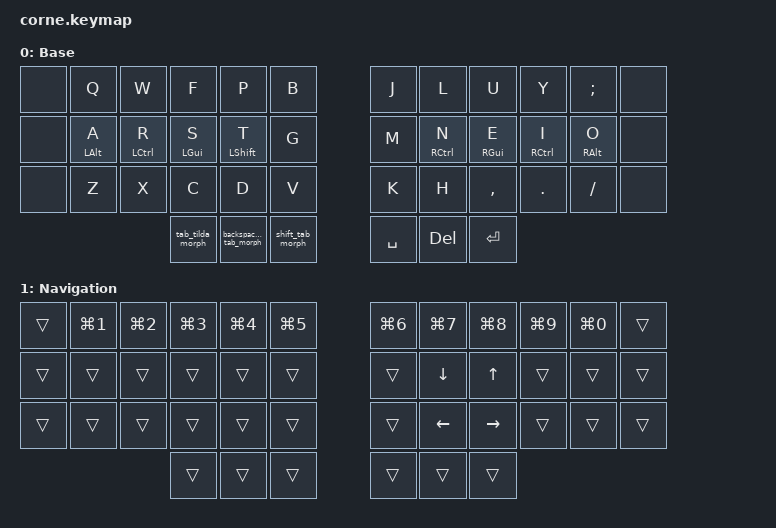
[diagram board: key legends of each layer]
/*
 * Copyright (c) 2020 The ZMK Contributors
 *
 * SPDX-License-Identifier: MIT
 */

#include <behaviors.dtsi>
#include <dt-bindings/zmk/keys.h>

/ {
    macros {
        new_macro: new_macro {
            compatible = "zmk,behavior-macro";
            #binding-cells = <0>;
            bindings = <&none>;
            label = "NEW_MACRO";
        };
    };

    behaviors {
        hrm: hrm {
            compatible = "zmk,behavior-hold-tap";
            label = "HRM";
            bindings = <&kp>, <&kp>;

            #binding-cells = <2>;
            tapping-term-ms = <1000>;
            quick-tap-ms = <175>;
            require-prior-idle-ms = <200>;
            flavor = "balanced";
        };

        shift_tab_morph: shift_tab_morph {
            compatible = "zmk,behavior-mod-morph";
            label = "SHIFT_TAB_MORPH";
            bindings = <&kp LEFT_SHIFT>, <&kp TAB>;

            #binding-cells = <0>;
            mods = <(MOD_LGUI|MOD_RGUI)>;
            keep-mods = <(MOD_LGUI|MOD_RGUI)>;
        };

        backspace_shift_tab_morph: backspace_shift_tab_morph {
            compatible = "zmk,behavior-mod-morph";
            label = "BACKSPACE_SHIFT_TAB_MORPH";
            bindings = <&lt 1 BACKSPACE>, <&kp LS(TAB)>;

            #binding-cells = <0>;
            mods = <(MOD_LGUI|MOD_RGUI)>;
            keep-mods = <(MOD_LGUI|MOD_RGUI)>;
        };

        tab_tilda_morph: tab_tilda_morph {
            compatible = "zmk,behavior-mod-morph";
            label = "TAB_TILDA_MORPH";
            bindings = <&kp TAB>, <&kp GRAVE>;

            #binding-cells = <0>;
            mods = <(MOD_LGUI|MOD_RGUI)>;
            keep-mods = <(MOD_LGUI|MOD_RGUI)>;
        };
    };

    combos {
        compatible = "zmk,combos";

        Copy {
            bindings = <&kp LG(C)>;
            key-positions = <27 26>;
        };

        Paste {
            bindings = <&kp LG(V)>;
            key-positions = <27 28>;
        };

        Escape {
            bindings = <&kp ESCAPE>;
            key-positions = <2 3>;
        };
    };

    keymap {
        compatible = "zmk,keymap";

        Base {
            // -----------------------------------------------------------------------------------------
            // |  TAB |  Q  |  W  |  E  |  R  |  T  |   |  Y  |  U   |  I  |  O  |  P  | BKSP |
            // | CTRL |  A  |  S  |  D  |  F  |  G  |   |  H  |  J   |  K  |  L  |  ;  |  '   |
            // | SHFT |  Z  |  X  |  C  |  V  |  B  |   |  N  |  M   |  ,  |  .  |  /  | ESC  |
            //                    | GUI | LWR | SPC |   | ENT | RSE  | ALT |

            bindings = <
&none  &kp Q            &kp W         &kp F             &kp P                       &kp B               &kp J      &kp L         &kp U             &kp Y         &kp SEMI          &none
&none  &hrm LEFT_ALT A  &hrm LCTRL R  &hrm LEFT_GUI S   &hrm LEFT_SHIFT T           &kp G               &kp M      &hrm RCTRL N  &hrm RIGHT_GUI E  &hrm RCTRL I  &hrm RIGHT_ALT O  &none
&none  &kp Z            &kp X         &kp C             &kp D                       &kp V               &kp K      &kp H         &kp COMMA         &kp DOT       &kp FSLH          &none
                                      &tab_tilda_morph  &backspace_shift_tab_morph  &shift_tab_morph    &kp SPACE  &kp DELETE    &kp ENTER
            >;
        };

        Navigation {
            bindings = <
&trans  &kp LG(NUMBER_1)  &kp LG(NUMBER_2)  &kp LG(NUMBER_3)  &kp LG(NUMBER_4)  &kp LG(NUMBER_5)    &kp LG(NUMBER_6)  &kp LG(NUMBER_7)  &kp LG(NUMBER_8)  &kp LG(NUMBER_9)  &kp LG(NUMBER_0)  &trans
&trans  &trans            &trans            &trans            &trans            &trans              &trans            &kp DOWN          &kp UP            &trans            &trans            &trans
&trans  &trans            &trans            &trans            &trans            &trans              &trans            &kp LEFT          &kp RIGHT         &trans            &trans            &trans
                                            &trans            &trans            &trans              &trans            &trans            &trans
            >;
        };
    };
};
